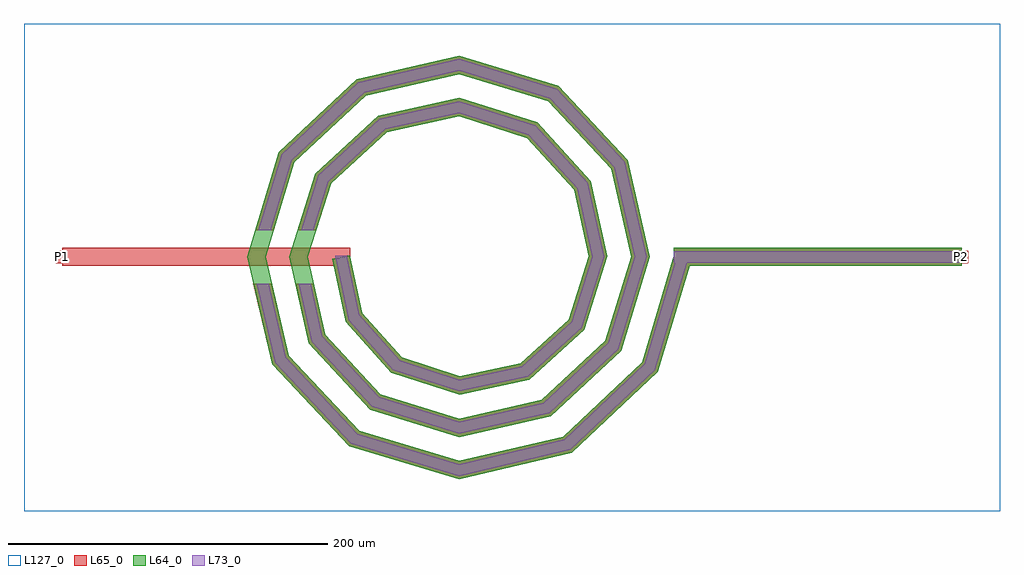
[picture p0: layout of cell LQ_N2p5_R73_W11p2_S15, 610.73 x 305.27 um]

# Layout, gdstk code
import gdstk
lib = gdstk.Library(unit=1e-6, precision=1e-09)
def R(c, l, rs):  # rectangles x0, y0, x1, y1
    for r in rs: c.add(gdstk.rectangle(r[:2], r[2:], *l))
def P(c, l, *ps):  # polygons
    for p in ps: c.add(gdstk.Polygon(p, *l))
L64_0 = (64, 0)
L65_0 = (65, 0)
L73_0 = (73, 0)
L127_0 = (127, 0)

lq_n2p5_r73_w11p2_s15 = lib.new_cell('LQ_N2p5_R73_W11p2_S15')
R(lq_n2p5_r73_w11p2_s15, L64_0, [(134.491,-5.6,314.491,5.6)])
P(lq_n2p5_r73_w11p2_s15, L64_0, [(-60.687,-35.4),(-35.968,-62.909),(0.297,-74.673),(38.69,-66.436),(68.634,-39.301),(81.297,0.274),(72.184,41.984),(42.631,74.36),(0.255,87.921),(-45.28,77.93),(-80.089,45.958),(-94.546,0.238),(-83.675,-48.579),(-49.284,-85.818),(0.223,-101.171),(51.879,-89.42),(91.549,-52.608),(107.796,0.21),(95.163,55.181),(55.931,97.28),(0.199,114.421),(-58.483,100.906),(-103.012,59.253),(-121.045,0.188),(-106.648,-61.787),(-62.573,-108.744),(0.179,-127.67),(65.092,-112.39),(114.477,-65.894),(134.727,1.609),(145.455,-1.609),(124.342,-71.989),(70.582,-122.604),(0.179,-139.261),(-68.684,-118.6),(-116.871,-67.262),(-132.635,0.188),(-112.857,65.379),(-63.94,111.138),(0.199,126.01),(62.076,107.114),(105.406,60.618),(119.384,0.21),(101.37,-58.774),(57.294,-99.674),(0.223,-112.759),(-55.472,-95.625),(-93.943,-53.969),(-106.133,0.238),(-89.879,52.173),(-50.642,88.213),(0.255,99.507),(48.875,84.132),(82.484,47.313),(92.881,0.274),(78.384,-45.58),(43.982,-76.756),(0.297,-86.255),(-42.287,-72.633),(-71.03,-40.647),(-79.319,-1.15),(-68.358,1.15)])
R(lq_n2p5_r73_w11p2_s15, L65_0, [(-248.239,-5.6,-68.239,5.6), (134.491,-5.6,314.491,5.6), (-252.239,-4,-244.239,4), (310.491,-4,318.491,4)])
P(lq_n2p5_r73_w11p2_s15, L65_0, [(-106.648,-61.787),(-62.574,-108.744),(0.179,-127.671),(65.092,-112.39),(114.477,-65.894),(134.727,1.609),(145.455,-1.609),(124.342,-71.989),(70.582,-122.604),(0.179,-139.261),(-68.684,-118.6),(-116.871,-67.262),(-128.665,-16.8),(-117.163,-16.8)],
  [(-83.675,-48.579),(-49.284,-85.818),(0.223,-101.171),(51.879,-89.42),(91.549,-52.608),(107.796,0.21),(95.163,55.181),(55.931,97.28),(0.199,114.421),(-58.483,100.906),(-103.012,59.253),(-115.891,16.8),(-127.596,16.8),(-112.857,65.379),(-63.94,111.138),(0.199,126.01),(62.076,107.114),(105.406,60.618),(119.384,0.21),(101.37,-58.774),(57.294,-99.674),(0.223,-112.759),(-55.472,-95.625),(-93.943,-53.969),(-102.301,-16.8),(-90.822,-16.8)],
  [(-35.968,-62.909),(0.297,-74.673),(38.69,-66.436),(68.634,-39.301),(81.297,0.274),(72.184,41.984),(42.631,74.36),(0.255,87.922),(-45.28,77.93),(-80.089,45.958),(-89.214,16.8),(-100.95,16.8),(-89.879,52.173),(-50.642,88.213),(0.255,99.507),(48.875,84.132),(82.484,47.313),(92.881,0.274),(78.384,-45.58),(43.982,-76.756),(0.297,-86.255),(-42.287,-72.634),(-71.03,-40.647),(-79.319,-1.15),(-68.358,1.15),(-60.687,-35.4)])
R(lq_n2p5_r73_w11p2_s15, L73_0, [(134.491,-3.6,314.491,3.6)])
P(lq_n2p5_r73_w11p2_s15, L73_0, [(-108.474,-62.765),(-63.665,-110.504),(0.115,-129.74),(66.072,-114.214),(116.239,-66.982),(136.643,1.034),(143.539,-1.034),(122.581,-70.901),(69.602,-120.78),(0.115,-137.191),(-67.593,-116.84),(-115.045,-66.284),(-126.611,-16.8),(-119.217,-16.8)],
  [(-85.509,-49.541),(-50.389,-87.569),(0.144,-103.24),(52.846,-91.251),(93.302,-53.709),(109.865,0.135),(96.992,56.152),(57.028,99.036),(0.128,116.49),(-59.458,102.733),(-104.77,60.347),(-117.982,16.8),(-125.506,16.8),(-111.099,64.285),(-62.966,109.311),(0.128,123.94),(60.979,105.358),(103.577,59.647),(117.315,0.135),(99.616,-57.673),(56.327,-97.843),(0.144,-110.689),(-54.367,-93.874),(-92.109,-53.007),(-100.251,-16.8),(-92.872,-16.8)],
  [(-37.097,-64.645),(0.191,-76.741),(39.635,-68.279),(70.375,-40.422),(83.366,0.176),(74.023,42.936),(43.746,76.105),(0.164,89.99),(-46.238,79.766),(-81.837,47.068),(-91.31,16.8),(-98.854,16.8),(-88.131,51.063),(-49.685,86.377),(0.164,97.438),(47.76,82.387),(80.645,46.362),(90.812,0.176),(76.643,-44.459),(43.037,-74.913),(0.191,-84.187),(-41.159,-70.897),(-69.183,-39.71),(-77.362,0.739),(-70.315,0.739),(-62.534,-36.337)])
R(lq_n2p5_r73_w11p2_s15, L127_0, [(-272.239,-159.261,338.491,146.01)])
lq_n2p5_r73_w11p2_s15.add(gdstk.Label('P2', (314.491,0), layer=65, texttype=0))
lq_n2p5_r73_w11p2_s15.add(gdstk.Label('P1', (-248.239,0), layer=65, texttype=0))
lq_n2p5_r73_w11p2_s15.add(gdstk.Label('P2', (318.491,0), layer=145, texttype=0))
lq_n2p5_r73_w11p2_s15.add(gdstk.Label('P1', (-252.239,0), layer=145, texttype=0))

lib.write_gds('LQ_N2p5_R73_W11p2_S15.gds')
